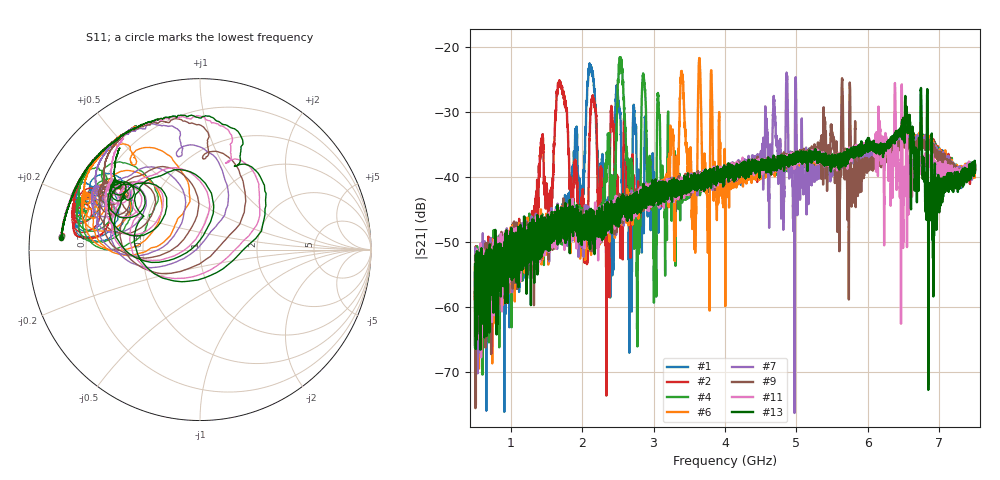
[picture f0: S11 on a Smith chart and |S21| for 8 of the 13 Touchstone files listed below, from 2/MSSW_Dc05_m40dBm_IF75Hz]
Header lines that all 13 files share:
!Keysight Technologies,M9374A,MY55442783,A.12.55.05
!Correction: S11(Full 2 Port(1,2))
!S21(Full 2 Port(1,2))
!S12(Full 2 Port(1,2))
!S22(Full 2 Port(1,2))
!S2P File: Measurements: S11, S21, S12, S22:
# Hz S  RI  R 50
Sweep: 500 MHz to 7.5 GHz
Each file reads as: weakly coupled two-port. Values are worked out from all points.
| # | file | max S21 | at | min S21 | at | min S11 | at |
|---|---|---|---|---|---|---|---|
| 1 | MSSW_Dc05_I0.5.s2p | -22.50 dB | 2.105 GHz | -76.1 dB | 910 MHz | -6.5 dB | 2.122 GHz |
| 2 | MSSW_Dc05_I0.s2p | -25.09 dB | 1.682 GHz | -73.6 dB | 2.339 GHz | -5.1 dB | 1.715 GHz |
| 3 | MSSW_Dc05_I1.5.s2p | -21.35 dB | 3.243 GHz | -72.6 dB | 3.402 GHz | -11.5 dB | 2.98 GHz |
| 4 | MSSW_Dc05_I1.s2p | -21.56 dB | 2.538 GHz | -70.3 dB | 605 MHz | -9.5 dB | 2.561 GHz |
| 5 | MSSW_Dc05_I2.5.s2p | -22.05 dB | 4.051 GHz | -74.4 dB | 575 MHz | -17.7 dB | 3.847 GHz |
| 6 | MSSW_Dc05_I2.s2p | -21.68 dB | 3.642 GHz | -75.0 dB | 512 MHz | -14.3 dB | 3.414 GHz |
| 7 | MSSW_Dc05_I3.5.s2p | -23.94 dB | 4.861 GHz | -76.2 dB | 4.973 GHz | -36.9 dB | 4.697 GHz |
| 8 | MSSW_Dc05_I3.s2p | -22.68 dB | 4.462 GHz | -70.5 dB | 555 MHz | -23.2 dB | 4.276 GHz |
| 9 | MSSW_Dc05_I4.5.s2p | -24.79 dB | 5.639 GHz | -75.5 dB | 506 MHz | -23.5 dB | 5.5 GHz |
| 10 | MSSW_Dc05_I4.s2p | -24.20 dB | 5.257 GHz | -70.2 dB | 546 MHz | -29.7 dB | 5.105 GHz |
| 11 | MSSW_Dc05_I5.5.s2p | -25.53 dB | 6.379 GHz | -67.7 dB | 585 MHz | -24.7 dB | 6.391 GHz |
| 12 | MSSW_Dc05_I5.s2p | -25.21 dB | 6.013 GHz | -72.7 dB | 528 MHz | -21.4 dB | 6.024 GHz |
| 13 | MSSW_Dc05_I6.s2p | -26.29 dB | 6.744 GHz | -72.7 dB | 6.846 GHz | -28.7 dB | 6.752 GHz |
